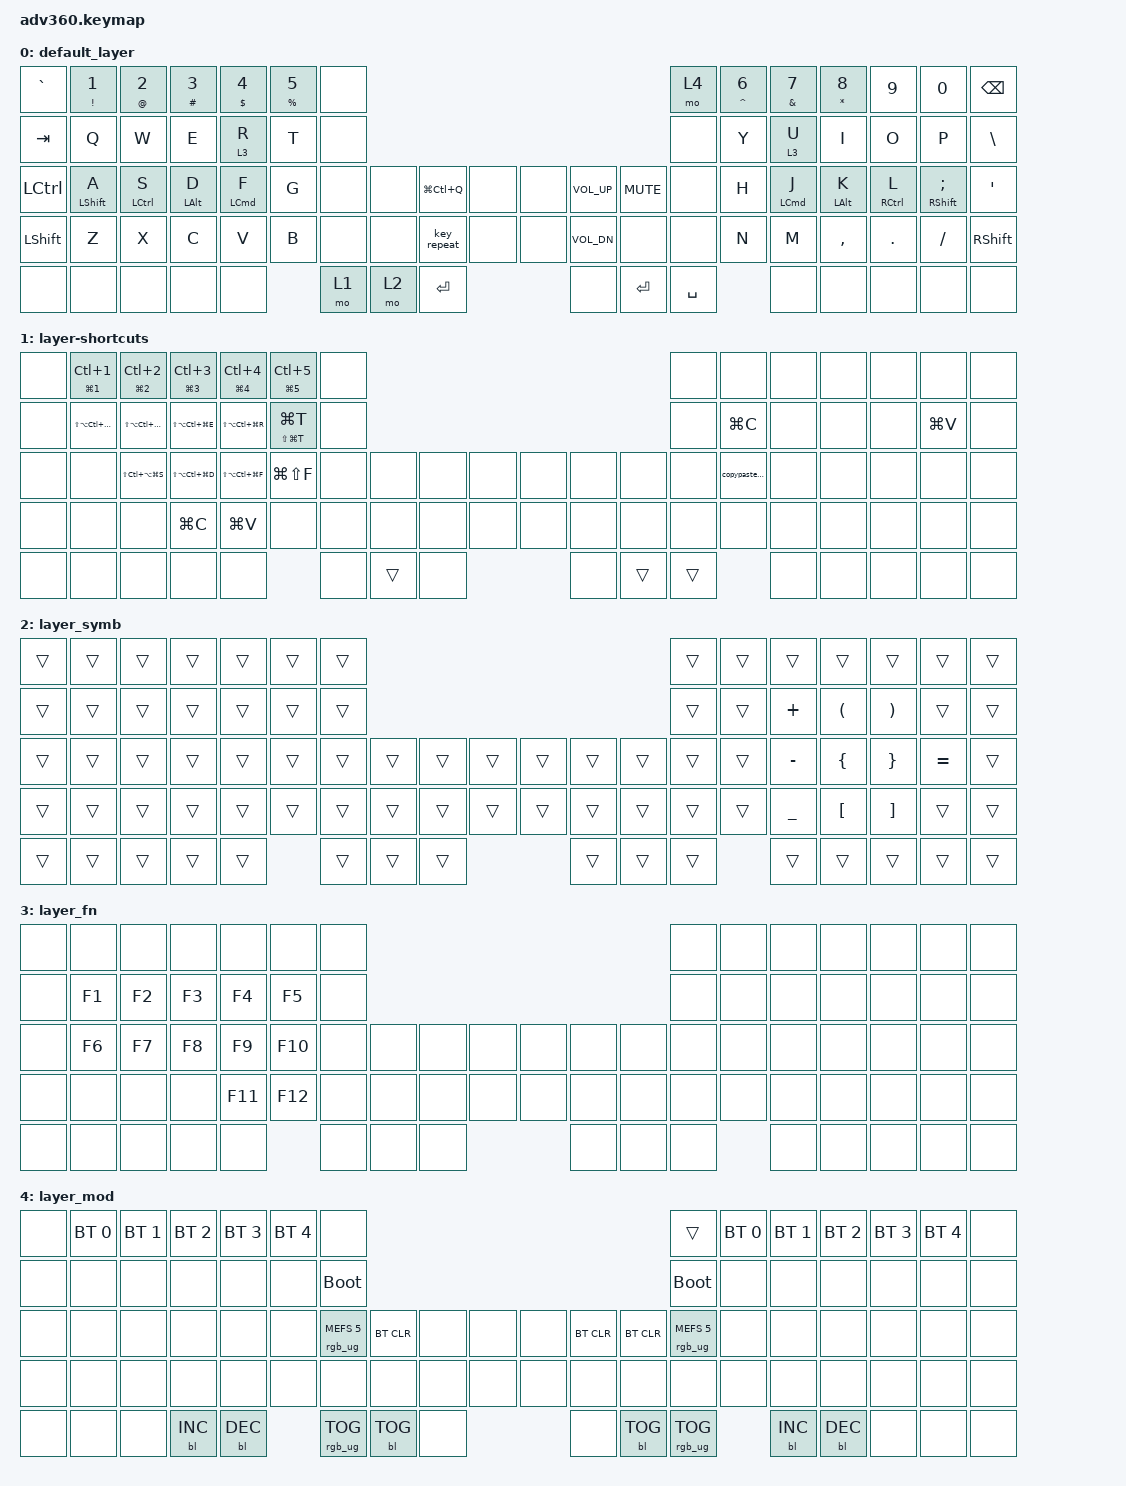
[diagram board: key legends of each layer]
/*
 * Copyright (c) 2020 The ZMK Contributors
 *
 * SPDX-License-Identifier: MIT
 */
/* THIS FILE WAS GENERATED!
 *
 * This file was generated automatically. You may or may not want to
 * edit it directly.
 */

#include <behaviors.dtsi>
#include <dt-bindings/zmk/backlight.h>
#include <dt-bindings/zmk/bt.h>
#include <dt-bindings/zmk/keys.h>
#include <dt-bindings/zmk/rgb.h>

#define HYP(key) LS(LC(LA(LG(key))))

#define HYPER    LS(LC(LA(LGUI)))
#define MACLOCK  LG(LC(Q))

/ {
    behaviors {
        #include "macros.dtsi"

        hm: homerow_mods {
            compatible = "zmk,behavior-hold-tap";
            label = "HOMEROW_MODS";
            #binding-cells = <2>;
            tapping-term-ms = <200>;
            quick_tap_ms = <175>;
            flavor = "tap-preferred";
            bindings = <&kp>, <&kp>;
        };
    };

    combos {
        compatible = "zmk,combos";

        esc {
            bindings = <&kp ESCAPE>;
            key-positions = <30 32>;
        };

        Enter {
            bindings = <&kp ENTER>;
            key-positions = <16 18>;
        };

        find {
            bindings = <&copypastefind>;
            key-positions = <50 52>;
        };
    };

    macros {
        copypastefind: copypastefind {
            compatible = "zmk,behavior-macro";
            #binding-cells = <0>;
            bindings = <&kp LG(C) &kp LG(F) &kp LG(A) &kp LG(V)>;
            label = "COPYPASTEFIND";
        };
    };

    keymap {
        compatible = "zmk,keymap";

        default_layer {
            bindings = <
&kp GRAVE  &mt EXCLAMATION N1  &mt AT_SIGN N2  &mt HASH N3  &mt DOLLAR N4  &mt PERCENT N5  &none                                                              &mo 4      &mt CARET N6  &mt AMPERSAND N7  &mt ASTERISK N8  &kp N9       &kp N0                     &kp BACKSPACE
&kp TAB    &kp Q               &kp W           &kp E        &lt 3 R        &kp T           &none                                                              &none      &kp Y         &lt 3 U           &kp I            &kp O        &kp P                      &kp BSLH
&kp LCTRL  &hm LEFT_SHIFT A    &hm LCTRL S     &hm LALT D   &hm LCMD F     &kp G           &none  &none  &kp MACLOCK  &none  &none  &kp C_VOL_UP  &kp C_MUTE  &none      &kp H         &hm LCMD J        &hm LALT K       &hm RCTRL L  &hm RIGHT_SHIFT SEMICOLON  &kp SQT
&kp LSHFT  &kp Z               &kp X           &kp C        &kp V          &kp B           &none  &none  &key_repeat  &none  &none  &kp C_VOL_DN  &none       &none      &kp N         &kp M             &kp COMMA        &kp DOT      &kp FSLH                   &kp RSHFT
&none      &none               &none           &none        &none                          &mo 1  &mo 2  &kp ENTER                  &none         &kp ENTER   &kp SPACE                &none             &none            &none        &none                      &none
            >;
        };

        layer-shortcuts {
            bindings = <
&none  &mt LG(NUMBER_1) LC(NUMBER_1)  &mt LG(NUMBER_2) LC(NUMBER_2)  &mt LG(NUMBER_3) LC(NUMBER_3)  &mt LG(NUMBER_4) LC(NUMBER_4)  &mt LG(N5) LC(N5)    &none                                              &none   &none           &none  &none  &none  &none      &none
&none  &kp LS(LA(LC(LG(Q))))          &kp LS(LA(LC(LG(W))))          &kp LS(LA(LC(LG(E))))          &kp LS(LA(LC(LG(R))))          &mt LS(LG(T)) LG(T)  &none                                              &none   &kp LG(C)       &none  &none  &none  &kp LG(V)  &none
&none  &none                          &kp LS(LC(LA(LG(S))))          &kp LS(LA(LC(LG(D))))          &kp LS(LA(LC(LG(F))))          &kp LG(LS(F))        &none  &none   &none  &none  &none  &none  &none   &none   &copypastefind  &none  &none  &none  &none      &none
&none  &none                          &none                          &kp LG(C)                      &kp LG(V)                      &none                &none  &none   &none  &none  &none  &none  &none   &none   &none           &none  &none  &none  &none      &none
&none  &none                          &none                          &none                          &none                                               &none  &trans  &none                &none  &trans  &trans                  &none  &none  &none  &none      &none
            >;
        };

        layer_symb {
            bindings = <
&trans  &trans  &trans  &trans  &trans  &trans  &trans                                                  &trans  &trans  &trans     &trans                &trans                 &trans     &trans
&trans  &trans  &trans  &trans  &trans  &trans  &trans                                                  &trans  &trans  &kp PLUS   &kp LEFT_PARENTHESIS  &kp RIGHT_PARENTHESIS  &trans     &trans
&trans  &trans  &trans  &trans  &trans  &trans  &trans  &trans  &trans  &trans  &trans  &trans  &trans  &trans  &trans  &kp MINUS  &kp LEFT_BRACE        &kp RIGHT_BRACE        &kp EQUAL  &trans
&trans  &trans  &trans  &trans  &trans  &trans  &trans  &trans  &trans  &trans  &trans  &trans  &trans  &trans  &trans  &kp UNDER  &kp LEFT_BRACKET      &kp RIGHT_BRACKET      &trans     &trans
&trans  &trans  &trans  &trans  &trans          &trans  &trans  &trans                  &trans  &trans  &trans          &trans     &trans                &trans                 &trans     &trans
            >;
        };

        layer_fn {
            bindings = <
&none  &none   &none   &none   &none    &none    &none                                            &none  &none  &none  &none  &none  &none  &none
&none  &kp F1  &kp F2  &kp F3  &kp F4   &kp F5   &none                                            &none  &none  &none  &none  &none  &none  &none
&none  &kp F6  &kp F7  &kp F8  &kp F9   &kp F10  &none  &none  &none  &none  &none  &none  &none  &none  &none  &none  &none  &none  &none  &none
&none  &none   &none   &none   &kp F11  &kp F12  &none  &none  &none  &none  &none  &none  &none  &none  &none  &none  &none  &none  &none  &none
&none  &none   &none   &none   &none             &none  &none  &none                &none  &none  &none         &none  &none  &none  &none  &none
            >;
        };

        layer_mod {
            bindings = <
&none  &bt BT_SEL 0  &bt BT_SEL 1  &bt BT_SEL 2  &bt BT_SEL 3  &bt BT_SEL 4  &none                                                                            &trans                  &bt BT_SEL 0  &bt BT_SEL 1  &bt BT_SEL 2  &bt BT_SEL 3  &bt BT_SEL 4  &none
&none  &none         &none         &none         &none         &none         &bootloader                                                                      &bootloader             &none         &none         &none         &none         &none         &none
&none  &none         &none         &none         &none         &none         &rgb_ug RGB_MEFS_CMD 5  &bt BT_CLR  &none  &none  &none  &bt BT_CLR  &bt BT_CLR  &rgb_ug RGB_MEFS_CMD 5  &none         &none         &none         &none         &none         &none
&none  &none         &none         &none         &none         &none         &none                   &none       &none  &none  &none  &none       &none       &none                   &none         &none         &none         &none         &none         &none
&none  &none         &none         &bl BL_INC    &bl BL_DEC                  &rgb_ug RGB_TOG         &bl BL_TOG  &none                &none       &bl BL_TOG  &rgb_ug RGB_TOG                       &bl BL_INC    &bl BL_DEC    &none         &none         &none
            >;
        };
    };

    conditional_layers {
        compatible = "zmk,conditional-layers";

        fn-layer {
            if-layers = <1 2>;
            then-layer = <3>;
        };
    };
};
